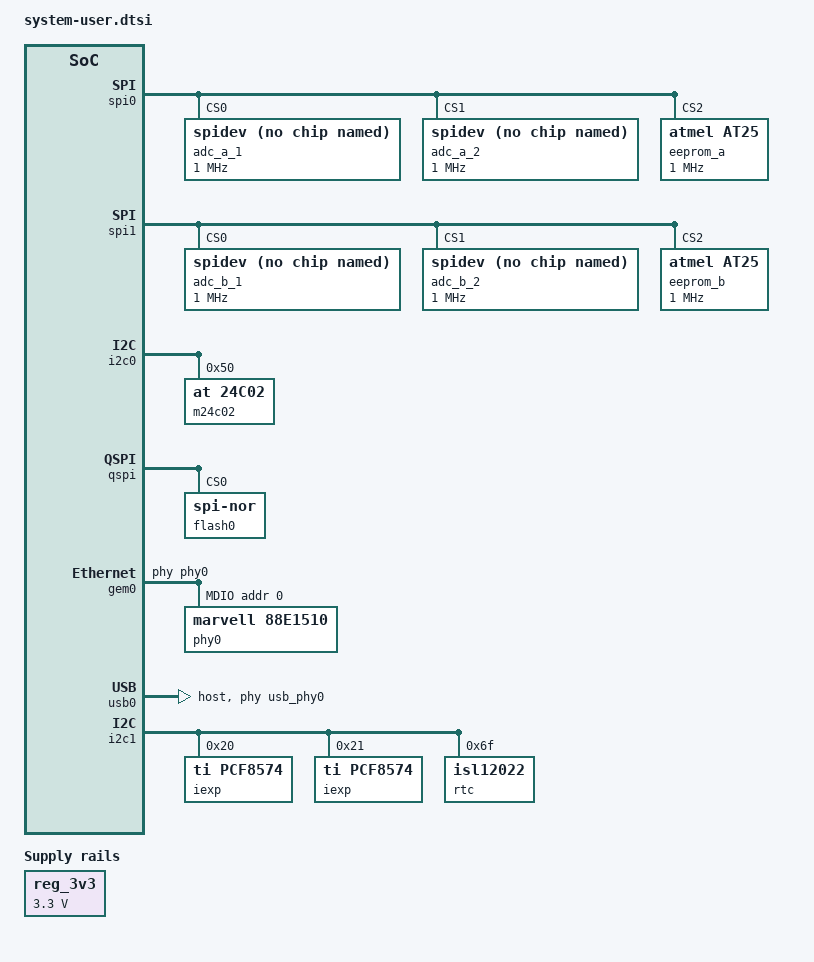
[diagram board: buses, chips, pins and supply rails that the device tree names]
/include/ "system-conf.dtsi"
/ {
};

/* default */
/{
  reg_3v3: regulator-3v3 {
        compatible = "regulator-fixed";
        regulator-name = "3v3-supply";
        regulator-min-microvolt = <3300000>;
        regulator-max-microvolt = <3300000>;
    };
};




&spi0 {
        adc_a_1: spidev@0 {
                compatible = "spidev";
                spi-max-frequency = <1000000>;
                reg = <0>;
        };
        adc_a_2: spidev@1 {
                compatible = "spidev";
                spi-max-frequency = <1000000>;
                reg = <1>;
        };
     eeprom_a: at25@0 {
         compatible = "atmel,at25";
         reg = <2>;
         spi-max-frequency = <1000000>;
         size = <256>;
         pagesize = <16>;
         address-width = <8>;
     };
};


&spi1 {
        adc_b_1: spidev@0 {
                compatible = "spidev";
                spi-max-frequency = <1000000>;
                reg = <0>;
        };
        adc_b_2: spidev@1 {
                compatible = "spidev";
                spi-max-frequency = <1000000>;
                reg = <1>;
        };
     eeprom_b: at25@0 {
         compatible = "atmel,at25";
         reg = <2>;
         spi-max-frequency = <1000000>;
	size = <256>;
	pagesize = <16>;
	address-width = <16>;
     };
};

&i2c0 {
  gpiom1: pinctrl_iic@20 {
        compatible = "microchip,mcp23017";
        gpio-controller;
        #gpio-cells = <2>;
        reg = <0x20>;
		pull_up_mux: pinmux@2 {
			pins = "gpio0", "gpio1", "gpio2", "gpio3","gpio4", "gpio5", "gpio6", "gpio7";
			bias-pull-up;
			};
	   };
    m24c02@50 {
        compatible = "at,24c02";
        reg = <0x50>;
    };
};
/*
	 		pinctrl-names = "default", "sleep";
		pinctrl-0 = <&spi-cs-active>;
		pinctrl-1 = <&spi-cs-sleep>;
		
    adc_a_1: adc@0 {
        compatible = "ti,adc108s102";
        reg = <0>;
        vref-supply = <&reg_3v3>;
        spi-max-frequency = <1000000>;
    };
    adc_a_2: adc@1 {
        compatible = "ti,adc108s102";
        reg = <1>;
        vref-supply = <&reg_3v3>;
        spi-max-frequency = <1000000>;
    };
	
  pinctrl-0 = <&spi1_cs_pin_en>;
  cs-gpios = <0>, <1>, <&gpiom1 15 0>;
     eeprom0: at25@0x02 {
         compatible = "atmel,at25";
         at25,byte-len = <2048>;
         at25,addr-mode = <2>;
         at25,page-size = <16>;
         reg = <2>;
         spi-max-frequency = <100000>;
     };
	 
	 spi1_cs_pin_en: pincfg0{
			pins = "gpio15";
			output-high;
		};
        gpio20pullups: pincfg2 {
            pins = "gpio0", "gpio1", "gpio2", "gpio3","gpio4", "gpio5", "gpio6", "gpio7";
            bias-pull-up;
            };
 
 
*/

/* QSPI PHY */
&qspi {
    #address-cells = <1>;
    #size-cells = <0>;
    status = "okay";
    flash0: flash@0 {
        compatible = "jedec,spi-nor";
        reg = <0x0>;
        #address-cells = <1>;
        #size-cells = <1>;
    };
};


/* ETH PHY */
&gem0 {
    phy-handle = <&phy0>;
    mdio {
        #address-cells = <1>;
        #size-cells = <0>;
        phy0: phy@0 {
            compatible = "marvell,88e1510";
            device_type = "ethernet-phy";
            reg = <0>;
        };
    };
};

/* USB PHY */

/{
    usb_phy0: usb_phy@0 {
        compatible = "ulpi-phy";
        //compatible = "usb-nop-xceiv";
        #phy-cells = <0>;
        reg = <0xe0002000 0x1000>;
        view-port = <0x0170>;
        drv-vbus;
    };
};

&usb0 {
    dr_mode = "host";
    //dr_mode = "peripheral";
    usb-phy = <&usb_phy0>;
};

/* I2C need I2C1 connected to te0720 system controller ip */
&i2c1 {

    iexp@20 {       // GPIO in CPLD
        #gpio-cells = <2>;
        compatible = "ti,pcf8574";
        reg = <0x20>;
        gpio-controller;
    };

    iexp@21 {       // GPIO in CPLD
        #gpio-cells = <2>;
        compatible = "ti,pcf8574";
        reg = <0x21>;
        gpio-controller;
    };

    rtc@6F {        // Real Time Clock
        compatible = "isl12022";
        reg = <0x6F>;
    };
};
